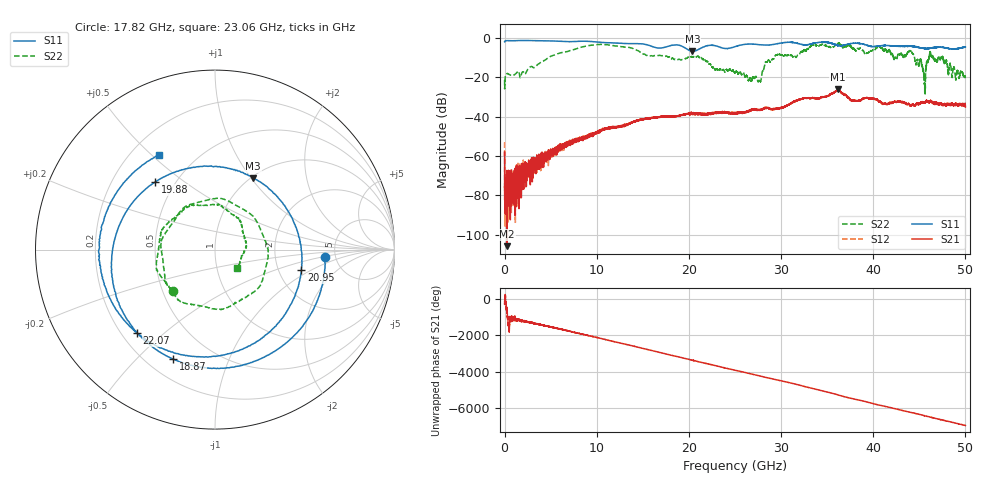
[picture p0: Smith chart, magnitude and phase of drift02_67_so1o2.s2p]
!Created with skrf (http://scikit-rf.org).
# Hz S RI R 50.0
!freq ReS11 ImS11 ReS21 ImS21 ReS12 ImS12 ReS22 ImS22
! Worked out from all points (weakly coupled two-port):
!   10001 points, 300 kHz to 50 GHz, reference 50 ohm
!   highest |S21| = -26.27 dB at 36.13 GHz (marker M1); lowest = -105.9 dB at 275.3 MHz (marker M2)
!   lowest |S11| = -6.9 dB at 20.38 GHz (marker M3), VSWR 2.64, Z = 51.3 + j51 ohm
!   |S11| at or under -10 dB: nowhere
!   |S22| runs from -28.5 to -2.5 dB; largest |S21 - S12| = 0.0056
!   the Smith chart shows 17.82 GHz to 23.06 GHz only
!   S11 on the Smith chart (normalised r, x): 17.82 GHz: 4.13, -0.53; 18.87 GHz: 0.30, -0.65; 19.88 GHz: 0.39, +0.39; 20.95 GHz: 2.68, -0.81; 22.07 GHz: 0.26, -0.41; 23.06 GHz: 0.31, +0.53
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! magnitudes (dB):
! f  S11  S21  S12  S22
! 300 kHz  -2.1  -58.1  -53.1  -21.4
! 275.3 MHz  -1.4  -105.9  -100.7  -18.2
! 8.335 GHz  -1.7  -50.7  -51.6  -4.7
! 16.67 GHz  -5.2  -40.2  -40.4  -9.0
! 17.82 GHz  -4.2  -40.0  -40.0  -9.7
! 18.87 GHz  -3.7  -39.6  -39.6  -10.9
! 19.88 GHz  -6.0  -38.7  -38.5  -9.9
! 20.38 GHz  -6.9  -38.5  -38.1  -9.7
! 20.95 GHz  -6.1  -38.7  -38.6  -9.3
! 22.07 GHz  -3.9  -38.7  -39.0  -12.3
! 23.06 GHz  -4.3  -38.1  -38.1  -15.8
! 25 GHz  -4.5  -38.3  -38.1  -17.7
! 27.63 GHz  -3.5  -36.8  -36.6  -21.5
! 28.43 GHz  -3.7  -35.7  -35.5  -12.3
! 29.55 GHz  -3.0  -35.8  -36.2  -8.8
! 33.34 GHz  -3.0  -30.7  -30.6  -3.8
! 36.13 GHz  -3.9  -26.3  -26.9  -3.3
! 41.67 GHz  -4.0  -33.3  -33.5  -6.2
! 44.12 GHz  -4.1  -34.7  -34.3  -7.1
! 45.5 GHz  -5.4  -33.1  -32.9  -18.0
! 46.29 GHz  -5.2  -32.2  -32.3  -9.4
! 50 GHz  -4.7  -35.1  -34.5  -20.0
